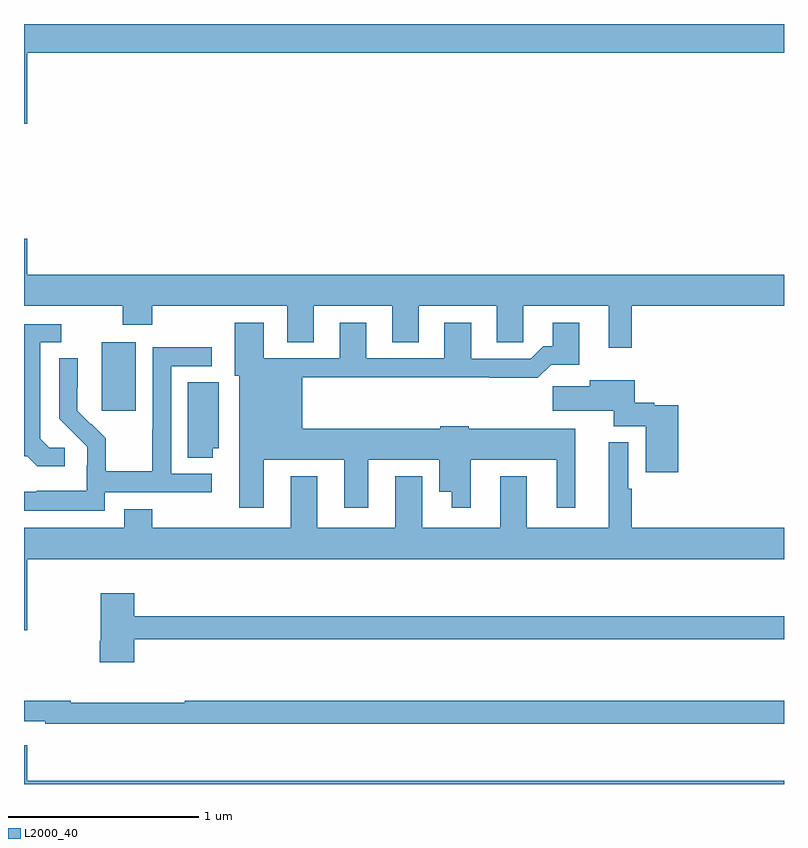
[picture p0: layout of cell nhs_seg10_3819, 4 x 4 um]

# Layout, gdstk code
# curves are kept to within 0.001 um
import gdstk
lib = gdstk.Library(unit=1e-6, precision=1e-09)
def R(c, l, rs):  # rectangles x0, y0, x1, y1
    for r in rs: c.add(gdstk.rectangle(r[:2], r[2:], *l))
def P(c, l, *ps):  # polygons
    for p in ps: c.add(gdstk.Polygon(p, *l))
L2000_40 = (2000, 40)

nhs_seg10_3819 = lib.new_cell('nhs_seg10_3819')
R(nhs_seg10_3819, L2000_40, [(321.41,1266.465,321.589,1266.826)])
P(nhs_seg10_3819, L2000_40, [(321.016,1268.348),(325,1268.348),(325,1268.5),(321,1268.5),(321,1267.974),(321.016,1267.974)],
  [(324.199,1267.016),(325,1267.016),(325,1267.18),(321.016,1267.18),(321.016,1267.369),(321,1267.369),(321,1267.016),(321.52,1267.016),(321.52,1266.917),(321.675,1266.917),(321.675,1267.016),(322.385,1267.016),(322.385,1266.826),(322.525,1266.826),(322.525,1267.016),(322.937,1267.016),(322.937,1266.826),(323.077,1266.826),(323.077,1267.016),(323.489,1267.016),(323.489,1266.826),(323.628,1266.826),(323.628,1267.016),(324.077,1267.016),(324.077,1266.795),(324.199,1266.795)],
  [(322.261,1266.206),(322.685,1266.206),(322.685,1265.955),(322.813,1265.955),(322.813,1266.206),(323.186,1266.206),(323.186,1266.038),(323.252,1266.038),(323.252,1265.955),(323.35,1265.955),(323.35,1266.206),(323.804,1266.206),(323.804,1265.955),(323.902,1265.955),(323.902,1266.37),(323.34,1266.37),(323.34,1266.382),(323.19,1266.382),(323.19,1266.37),(322.465,1266.37),(322.465,1266.64),(323.449,1266.64),(323.449,1266.638),(323.705,1266.638),(323.774,1266.707),(323.923,1266.707),(323.923,1266.928),(323.783,1266.928),(323.783,1266.805),(323.734,1266.805),(323.667,1266.738),(323.353,1266.738),(323.353,1266.928),(323.213,1266.928),(323.213,1266.741),(322.801,1266.741),(322.801,1266.928),(322.661,1266.928),(322.661,1266.741),(322.261,1266.741),(322.261,1266.928),(322.109,1266.928),(322.109,1266.648),(322.133,1266.648),(322.133,1265.955),(322.261,1265.955)],
  [(321.214,1266.27),(321.132,1266.27),(321.085,1266.317),(321.085,1266.825),(321.196,1266.825),(321.196,1266.921),(321,1266.921),(321,1266.225),(321.018,1266.225),(321.07,1266.173),(321.214,1266.173)],
  [(321.426,1266.036),(321.988,1266.036),(321.988,1266.132),(321.774,1266.132),(321.774,1266.699),(321.988,1266.699),(321.988,1266.798),(321.678,1266.798),(321.678,1266.368),(321.676,1266.368),(321.676,1266.145),(321.431,1266.145),(321.431,1266.319),(321.354,1266.396),(321.351,1266.393),(321.281,1266.464),(321.282,1266.74),(321.186,1266.74),(321.186,1266.422),(321.332,1266.274),(321.332,1266.177),(321.33,1266.177),(321.33,1266.043),(321.067,1266.043),(321.067,1266.039),(321,1266.039),(321,1265.939),(321.426,1265.939)],
  [(324.443,1266.493),(324.318,1266.493),(324.318,1266.506),(324.214,1266.506),(324.214,1266.625),(323.978,1266.625),(323.978,1266.593),(323.784,1266.593),(323.784,1266.464),(324.104,1266.464),(324.104,1266.383),(324.272,1266.383),(324.272,1266.141),(324.443,1266.141)],
  [(321.994,1266.266),(322.024,1266.266),(322.024,1266.614),(321.863,1266.614),(321.863,1266.217),(321.994,1266.217)],
  [(325,1265.848),(324.199,1265.848),(324.199,1266.053),(324.181,1266.053),(324.181,1266.298),(324.077,1266.298),(324.077,1265.848),(323.647,1265.848),(323.647,1266.121),(323.507,1266.121),(323.507,1265.848),(323.095,1265.848),(323.095,1266.121),(322.955,1266.121),(322.955,1265.848),(322.543,1265.848),(322.543,1266.121),(322.403,1266.121),(322.403,1265.848),(321.675,1265.848),(321.675,1265.947),(321.527,1265.947),(321.527,1265.848),(321,1265.848),(321,1265.31),(321.016,1265.31),(321.016,1265.684),(325,1265.684)],
  [(321.581,1265.262),(325,1265.262),(325,1265.383),(321.581,1265.383),(321.581,1265.503),(321.403,1265.503),(321.403,1265.254),(321.398,1265.254),(321.398,1265.142),(321.581,1265.142)],
  [(325,1264.939),(321.845,1264.939),(321.845,1264.928),(321.245,1264.928),(321.245,1264.939),(321,1264.939),(321,1264.83),(321.112,1264.83),(321.112,1264.818),(325,1264.818)],
  [(325,1264.516),(321.016,1264.516),(321.016,1264.705),(321,1264.705),(321,1264.5),(325,1264.5)])

lib.write_gds('nhs_seg10_3819.gds')
